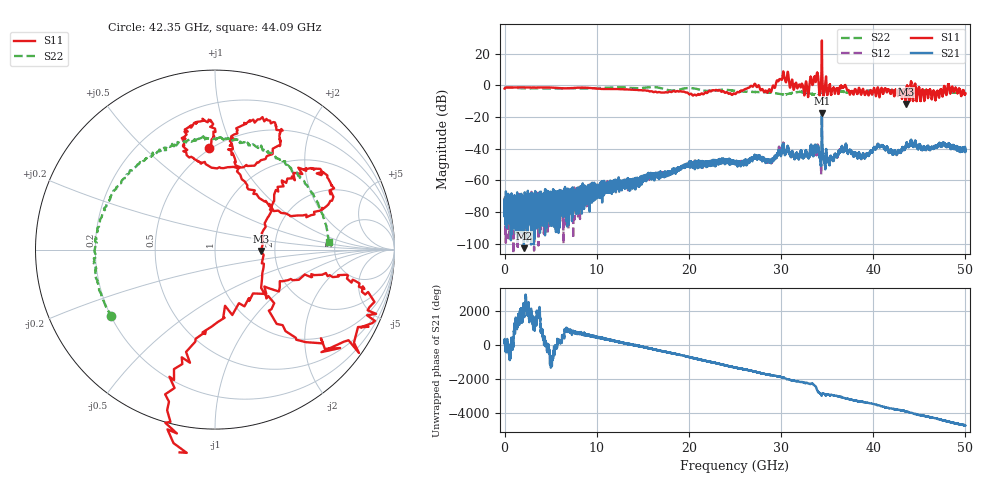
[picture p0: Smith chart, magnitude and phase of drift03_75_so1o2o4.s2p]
!Created with skrf (http://scikit-rf.org).
# Hz S RI R 50.0
!freq ReS11 ImS11 ReS21 ImS21 ReS12 ImS12 ReS22 ImS22
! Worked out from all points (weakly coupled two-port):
!   10000 points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, 5.3 MHz to 50 GHz, reference 50 ohm
!   highest |S21| = -17.52 dB at 34.43 GHz (marker M1); lowest = -102.9 dB at 2.095 GHz (marker M2)
!   lowest |S11| = -11.9 dB at 43.52 GHz (marker M3), VSWR 1.68, Z = 84.2 - j1.35 ohm
!   |S11| at or under -10 dB: 43.48461 GHz to 43.55179 GHz (67.19 MHz wide, 0.154 % of centre); 44.70444 GHz to 44.71079 GHz (6.349 MHz wide, 0.0142 % of centre)
!   |S22| runs from -5.8 to -1.1 dB; largest |S21 - S12| = 0.029
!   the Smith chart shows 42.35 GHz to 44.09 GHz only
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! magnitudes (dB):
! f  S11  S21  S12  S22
! 5.3 MHz  -2.1  -81.1  -80.9  -1.3
! 2.095 GHz  -1.3  -102.9  -75.8  -1.9
! 8.34 GHz  -1.5  -65.0  -69.4  -2.1
! 16.67 GHz  -4.4  -55.8  -56.2  -1.5
! 20.17 GHz  -5.4  -50.2  -49.4  -1.7
! 25.01 GHz  -5.5  -48.7  -49.5  -3.5
! 27.02 GHz  -0.3  -46.0  -45.9  -4.3
! 28.72 GHz  -2.5  -48.1  -48.1  -4.5
! 30.14 GHz  4.4  -40.2  -40.3  -5.7
! 32.74 GHz  2.0  -42.1  -42.0  -4.6
! 33.34 GHz  2.6  -39.4  -40.0  -5.7
! 33.82 GHz  4.0  -41.9  -42.4  -5.6
! 34.43 GHz  28.3  -17.5  -18.9  -4.6
! 35.3 GHz  0.5  -47.8  -46.8  -3.3
! 36.84 GHz  -0.7  -42.0  -41.5  -4.1
! 38.86 GHz  -2.4  -43.9  -44.0  -3.2
! 40.58 GHz  -3.3  -37.7  -38.0  -4.0
! 41.67 GHz  -2.8  -41.9  -42.1  -3.3
! 43.52 GHz  -11.9  -38.8  -39.0  -4.1
! 46.94 GHz  -3.6  -38.9  -38.4  -4.9
! 48.32 GHz  -4.6  -37.3  -38.1  -4.6
! 50 GHz  -5.2  -41.1  -40.3  -4.5
